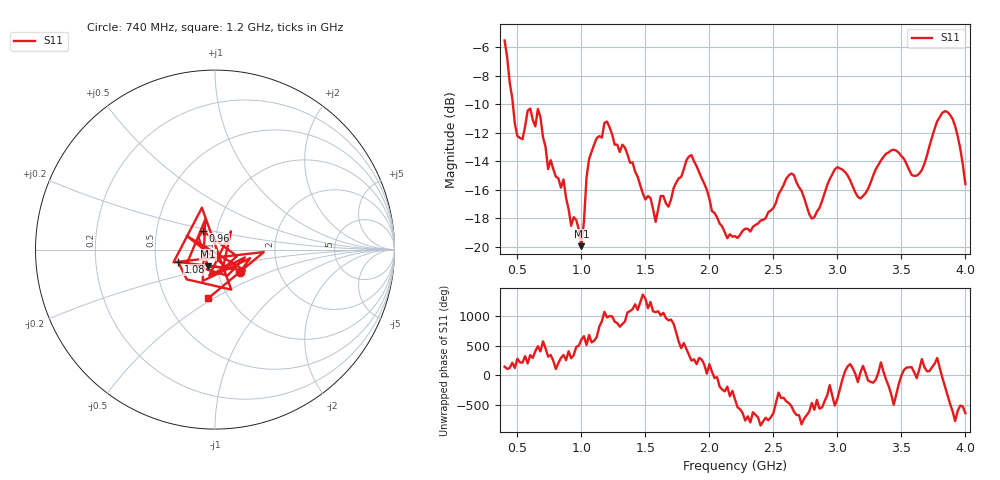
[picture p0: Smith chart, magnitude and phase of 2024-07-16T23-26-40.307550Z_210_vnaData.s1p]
!Created with skrf (http://scikit-rf.org).
# Hz S RI R 50.0
!freq ReS11 ImS11
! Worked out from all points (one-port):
!   181 points, 400 MHz to 4 GHz, reference 50 ohm
!   lowest |S11| = -20.0 dB at 1 GHz (marker M1), VSWR 1.22, Z = 45.5 - j8.51 ohm
!   |S11| at or under -10 dB: 464.7 MHz to end of sweep
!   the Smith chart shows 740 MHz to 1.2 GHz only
!   S11 on the Smith chart (normalised r, x): 740 MHz: 1.27, -0.34; 960 MHz: 0.86, +0.18; 1.08 GHz: 0.65, -0.09; 1.2 GHz: 0.80, -0.47
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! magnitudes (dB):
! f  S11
! 400 MHz  -5.5
! 500 MHz  -12.2
! 660 MHz  -10.3
! 740 MHz  -14.5
! 860 MHz  -15.3
! 920 MHz  -18.5
! 960 MHz  -18.1
! 1 GHz  -20.0
! 1.04 GHz  -15.2
! 1.08 GHz  -13.3
! 1.2 GHz  -11.2
! 1.3 GHz  -13.3
! 1.58 GHz  -18.3
! 1.76 GHz  -15.2
! 1.86 GHz  -13.6
! 2.02 GHz  -17.5
! 2.2 GHz  -19.3
! 2.66 GHz  -15.0
! 2.8 GHz  -18.0
! 2.98 GHz  -14.6
! 3.1 GHz  -15.3
! 3.18 GHz  -16.6
! 3.44 GHz  -13.2
! 3.56 GHz  -14.6
! 3.66 GHz  -14.6
! 3.84 GHz  -10.5
! 3.92 GHz  -11.5
! 4 GHz  -15.6
